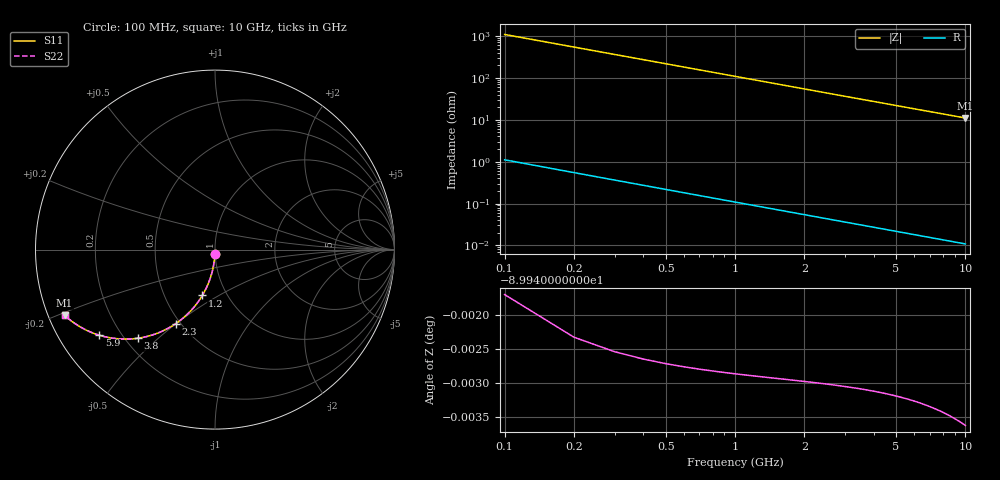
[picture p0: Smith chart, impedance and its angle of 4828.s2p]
# Hz S RI R 50.00
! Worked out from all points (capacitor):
!   100 points, 100 MHz to 10 GHz, reference 50 ohm
!   read as one part in shunt: C = 1.46 pF near 100 MHz
!   lowest |Z| = 11 ohm at 10 GHz (marker M1)
!   S11 on the Smith chart (normalised r, x): 100 MHz: 1.00, -0.05; 1.2 GHz: 0.77, -0.42; 2.3 GHz: 0.47, -0.50; 3.8 GHz: 0.25, -0.43; 5.9 GHz: 0.12, -0.33; 10 GHz: 0.05, -0.21
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1e8  -0.000545 -0.0229  0.9994 -0.023  0.9994 -0.023  -0.000545 -0.0229
2e8  -0.00215 -0.0458  0.9978 -0.0459  0.9978 -0.0459  -0.00215 -0.0458
3e8  -0.00479 -0.0685  0.9952 -0.0686  0.9952 -0.0686  -0.00479 -0.0685
4e8  -0.00845 -0.091  0.9915 -0.0912  0.9915 -0.0912  -0.00845 -0.091
5e8  -0.0131 -0.1132  0.9869 -0.1134  0.9869 -0.1134  -0.0131 -0.1132
6e8  -0.0188 -0.1351  0.9812 -0.1353  0.9812 -0.1353  -0.0188 -0.1351
7e8  -0.0253 -0.1565  0.9747 -0.1568  0.9747 -0.1568  -0.0253 -0.1565
9e8  -0.0411 -0.1979  0.9589 -0.1983  0.9589 -0.1983  -0.0411 -0.1979
1.2e9  -0.0707 -0.2557  0.9293 -0.2561  0.9293 -0.2561  -0.0707 -0.2557
1.5e9  -0.1062 -0.3073  0.8938 -0.3078  0.8938 -0.3078  -0.1062 -0.3073
1.8e9  -0.1459 -0.3522  0.8541 -0.3529  0.8541 -0.3529  -0.1459 -0.3522
2.3e9  -0.2178 -0.4118  0.7822 -0.4127  0.7822 -0.4127  -0.2178 -0.4118
2.8e9  -0.2917 -0.4535  0.7083 -0.4546  0.7083 -0.4546  -0.2917 -0.4535
3.4e9  -0.3774 -0.4836  0.6226 -0.4849  0.6226 -0.4849  -0.3774 -0.4836
3.8e9  -0.4306 -0.4939  0.5694 -0.4954  0.5694 -0.4954  -0.4306 -0.4939
4.4e9  -0.503 -0.4986  0.497 -0.5003  0.497 -0.5003  -0.503 -0.4986
5.1e9  -0.5757 -0.4927  0.4242 -0.4947  0.4242 -0.4947  -0.5757 -0.4927
5.9e9  -0.6444 -0.477  0.3555 -0.4793  0.3555 -0.4793  -0.6444 -0.477
6.7e9  -0.7 -0.4565  0.3 -0.4591  0.3 -0.4591  -0.7 -0.4565
7.5e9  -0.7448 -0.434  0.2552 -0.4369  0.2552 -0.4369  -0.7448 -0.434
8.4e9  -0.7852 -0.4085  0.2148 -0.4118  0.2148 -0.4118  -0.7852 -0.4085
1e10  -0.8379 -0.3661  0.1621 -0.37  0.1621 -0.37  -0.8379 -0.3661
